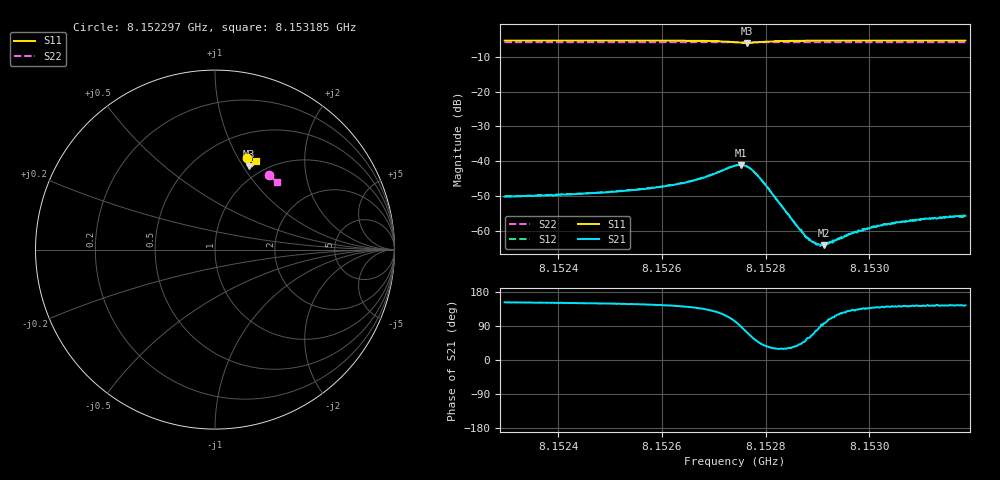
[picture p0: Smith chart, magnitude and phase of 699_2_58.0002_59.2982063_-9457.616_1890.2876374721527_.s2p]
#  HZ  S  RI  R  50.00
! Rohde & Schwarz Vector Network Analyzer
! Rohde-Schwarz,ZNB20-2Port,1311601062101988,3.16
! Created: UTC 3/21/2024, 1:21:42 AM
! freq[Hz]  re:S11  im:S11  re:S21  im:S21  re:S12  im:S12  re:S22  im:S22
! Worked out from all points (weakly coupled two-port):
!   401 points, 8.152297 GHz to 8.153185 GHz, reference 50 ohm
!   highest |S21| = -41.04 dB at 8.152752 GHz (marker M1); lowest = -64.1 dB at 8.152912 GHz (marker M2)
!   lowest |S11| = -6.0 dB at 8.152763 GHz (marker M3), VSWR 3.00, Z = 43 + j53.1 ohm
!   |S11| at or under -10 dB: nowhere
!   |S22| runs from -5.9 to -5.8 dB; largest |S21 - S12| = 0.00021
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8.1522967e9  0.1761 0.511  -0.00276 0.00144  -0.00276 0.00152  0.3005 0.4137
8.1524455e9  0.1873 0.5069  -0.00297 0.00173  -0.00294 0.00175  0.3081 0.4081
8.1525233e9  0.1937 0.504  -0.00316 0.00201  -0.00319 0.00204  0.3122 0.4048
8.1525944e9  0.2005 0.5008  -0.00349 0.00243  -0.00346 0.00251  0.3156 0.4018
8.1526366e9  0.2052 0.4974  -0.00378 0.00299  -0.00378 0.00305  0.3177 0.4
8.1526721e9  0.2096 0.4927  -0.00404 0.00383  -0.00402 0.00396  0.3195 0.3983
8.1527409e9  0.2076 0.4662  -0.00179 0.00846  -0.00165 0.00855  0.3222 0.3948
8.152752e9  0.1991 0.462  0.000198 0.00887  0.00033 0.00892  0.3223 0.3943
8.1527631e9  0.1888 0.4631  0.00235 0.00814  0.00252 0.00812  0.3226 0.3942
8.1527743e9  0.1806 0.4698  0.00377 0.00645  0.00388 0.0064  0.323 0.394
8.1527876e9  0.1776 0.48  0.00412 0.00423  0.00418 0.00417  0.3235 0.394
8.1528742e9  0.1969 0.4989  0.000602 0.000654  0.000599 0.000647  0.3285 0.3909
8.1528897e9  0.1995 0.4991  0.000284 0.000643  0.000282 0.000643  0.3294 0.3903
8.1529031e9  0.2013 0.4988  5.52e-05 0.000632  6.38e-05 0.000654  0.3301 0.3897
8.152912e9  0.2025 0.4989  -7.35e-05 0.000623  -4.95e-05 0.000672  0.3305 0.3893
8.1529275e9  0.2044 0.4985  -0.000251 0.000656  -0.000239 0.000643  0.3311 0.3886
8.1529475e9  0.2067 0.4981  -0.000434 0.000669  -0.000475 0.000684  0.3322 0.3876
8.152983e9  0.2104 0.4972  -0.000708 0.000704  -0.000736 0.000734  0.334 0.3862
8.1530119e9  0.213 0.4965  -0.000859 0.000761  -0.000836 0.000781  0.3352 0.3849
8.1530385e9  0.2152 0.4958  -0.000975 0.000803  -0.000977 0.000821  0.3365 0.3837
8.1531052e9  0.2207 0.4939  -0.00119 0.000884  -0.00118 0.000878  0.3398 0.381
8.1531851e9  0.2266 0.4916  -0.00134 0.000967  -0.00134 0.000978  0.3436 0.3776
